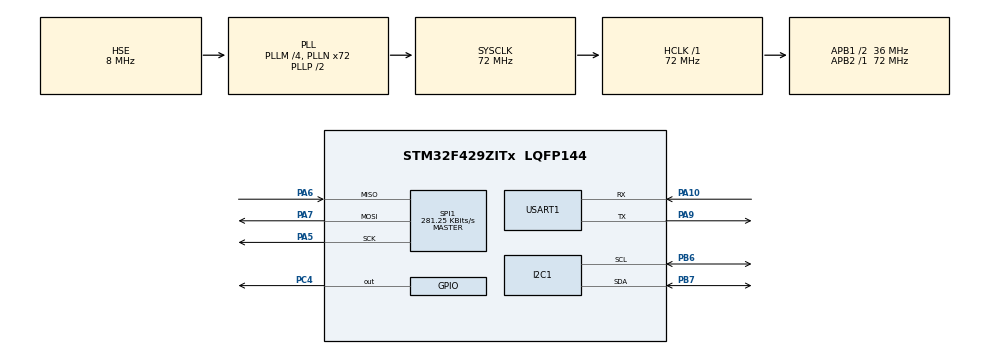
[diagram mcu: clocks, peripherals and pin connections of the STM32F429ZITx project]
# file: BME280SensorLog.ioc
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FATFS._MAX_SS=4096
FATFS._USE_CHMOD=0
FATFS._USE_EXPAND=0
FATFS._USE_LABEL=0
FATFS._USE_LFN=3
Mcu.Family=STM32F4
Mcu.Name=STM32F429ZITx
Mcu.Package=LQFP144
NVIC.PriorityGroup=NVIC_PRIORITYGROUP_4
PA10.Mode=Asynchronous
PA10.Signal=USART1_RX
PA13.Mode=Serial_Wire
PA13.Signal=SYS_JTMS-SWDIO
PA14.Mode=Serial_Wire
PA14.Signal=SYS_JTCK-SWCLK
PA5.Mode=Full_Duplex_Master
PA5.Signal=SPI1_SCK
PA6.Mode=Full_Duplex_Master
PA6.Signal=SPI1_MISO
PA7.Mode=Full_Duplex_Master
PA7.Signal=SPI1_MOSI
PA9.Mode=Asynchronous
PA9.Signal=USART1_TX
PB6.Mode=I2C
PB6.Signal=I2C1_SCL
PB7.Mode=I2C
PB7.Signal=I2C1_SDA
PC4.Signal=GPIO_Output
PH0/OSC_IN.Mode=HSE-External-Oscillator
PH0/OSC_IN.Signal=RCC_OSC_IN
PH1/OSC_OUT.Mode=HSE-External-Oscillator
PH1/OSC_OUT.Signal=RCC_OSC_OUT
ProjectManager.HeapSize=0x200
ProjectManager.StackSize=0x400
ProjectManager.TargetToolchain=CMake
RCC.48MHZClocksFreq_Value=48000000
RCC.AHBFreq_Value=72000000
RCC.APB1CLKDivider=RCC_HCLK_DIV2
RCC.APB1Freq_Value=36000000
RCC.APB1TimFreq_Value=72000000
RCC.APB2Freq_Value=72000000
RCC.APB2TimFreq_Value=72000000
RCC.CortexFreq_Value=72000000
RCC.HCLKFreq_Value=72000000
RCC.HSE_VALUE=8000000
RCC.HSI_VALUE=16000000
RCC.LSE_VALUE=32768
RCC.PLLM=4
RCC.PLLN=72
RCC.PLLQ=3
RCC.PLLSAIN=50
RCC.PLLSourceVirtual=RCC_PLLSOURCE_HSE
RCC.SYSCLKFreq_VALUE=72000000
RCC.SYSCLKSource=RCC_SYSCLKSOURCE_PLLCLK
RCC.VCOOutputFreq_Value=144000000
SPI1.BaudRatePrescaler=SPI_BAUDRATEPRESCALER_256
SPI1.CalculateBaudRate=281.25 KBits/s
SPI1.Direction=SPI_DIRECTION_2LINES
SPI1.Mode=SPI_MODE_MASTER
SPI1.VirtualType=VM_MASTER
USART1.VirtualMode=VM_ASYNC
VP_FATFS_VS_Generic.Mode=User_defined
VP_RTC_VS_RTC_Activate.Mode=RTC_Enabled
board=STM32F429I-DISC1

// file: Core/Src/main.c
/* USER CODE BEGIN Header */
/**
  ******************************************************************************
  * @file           : main.c
  * @brief          : Main program body
  ******************************************************************************
  * @attention
  *
  * Copyright (c) 2025 STMicroelectronics.
  * All rights reserved.
  *
  * This software is licensed under terms that can be found in the LICENSE file
  * in the root directory of this software component.
  * If no LICENSE file comes with this software, it is provided AS-IS.
  *
  ******************************************************************************
  */
/* USER CODE END Header */
#include "main.h"
#include "fatfs.h"

/* USER CODE BEGIN Includes */
#include "BME280_STM32.h"
#include "fatfs_sd.h"
#include "string.h"
#include "stdio.h"
#include "log_sensor_data.h"
/* USER CODE END Includes */

/* USER CODE BEGIN PD */
#define BME280_I2C_ADDRESS 0xEC  // SDIO is grounded, the 7 bit address is 0x76 and 8 bit address = 0x76<<1 = 0xEC
/* USER CODE END PD */

I2C_HandleTypeDef hi2c1;

RTC_HandleTypeDef hrtc;

SPI_HandleTypeDef hspi1;

UART_HandleTypeDef huart1;

/* USER CODE BEGIN PV */

SensorData current_data;  // Current sensor data to log
//char uart_display_buffer[256];
//uint32_t measurement_counter = 0;
LogStatus log_status;  // Status of the logging system
SD_Card_Logger sd_logger;  // SD card logger instance
BME280_Data bme1;  // BME280 data structure

/* USER CODE BEGIN PV */

/* USER CODE END PV */

void SystemClock_Config(void);
static void MX_GPIO_Init(void);
static void MX_I2C1_Init(void);
static void MX_RTC_Init(void);
static void MX_SPI1_Init(void);
static void MX_USART1_UART_Init(void);

int main(void)
{

  /* MCU Configuration--------------------------------------------------------*/

  /* Reset of all peripherals, Initializes the Flash interface and the Systick. */
  HAL_Init();

  /* Configure the system clock */
  SystemClock_Config();

  /* Initialize all configured peripherals */
  MX_GPIO_Init();
  MX_I2C1_Init();
  MX_RTC_Init();
  MX_SPI1_Init();
  MX_USART1_UART_Init();
  /* USER CODE BEGIN 2 */

  // Initialize SD card logging system

  log_status = log_sensor_init(&sd_logger, &huart1);
  if (log_status != LOG_OK) {
     //handle_logging_error(log_status);
     send_uart_message(&sd_logger, "SD card logging failed to initialize!\r\n");
     send_uart_message(&sd_logger, "Continuing with UART output only...\r\n");
   }

  // Welcome message
    send_uart_message(&sd_logger, "\r\n=== BME280 SD Card Data Logger ===\r\n");
    send_uart_message(&sd_logger, "Initializing system...\r\n");

    // Initialize BME280 sensor

    BME280_Init(&bme1, &hi2c1, BME280_I2C_ADDRESS);
    BME280_Config(&bme1, OSRS_2, OSRS_16, OSRS_1, MODE_NORMAL, T_SB_0p5, IIR_16);
    send_uart_message(&sd_logger, "BME280 sensor initialized successfully\r\n");

    // Wait for system stabilization
    HAL_Delay(1000);

    send_uart_message(&sd_logger, "System ready. Starting data logging...\r\n");
    send_uart_message(&sd_logger, "Data format: Temperature(C), Humidity(%), Pressure(hPa)\r\n\r\n");

  /* USER CODE END 2 */

  /* Infinite loop */
  while (1)
  {

    /* USER CODE BEGIN 3 */
	   // Read data from the BME280 sensor
      BME280_Measure(&bme1);

      // Populate the data structure for logging

      current_data.timestamp = HAL_GetTick();
      current_data.temperature = bme1.Temperature;
      current_data.humidity = bme1.Humidity;
      current_data.pressure = bme1.Pressure;
      //current_sensor_data.timestamp = measurement_counter++;

      // Log the data to the SD card
      if (log_status == LOG_OK) {
        log_sensor_data(&sd_logger, &current_data);
       }

  }
  /* USER CODE END 3 */
}

void SystemClock_Config(void)
{
  RCC_OscInitTypeDef RCC_OscInitStruct = {0};
  RCC_ClkInitTypeDef RCC_ClkInitStruct = {0};

  /** Configure the main internal regulator output voltage
  */
  __HAL_RCC_PWR_CLK_ENABLE();
  __HAL_PWR_VOLTAGESCALING_CONFIG(PWR_REGULATOR_VOLTAGE_SCALE3);

  /** Initializes the RCC Oscillators according to the specified parameters
  * in the RCC_OscInitTypeDef structure.
  */
  RCC_OscInitStruct.OscillatorType = RCC_OSCILLATORTYPE_LSI|RCC_OSCILLATORTYPE_HSE;
  RCC_OscInitStruct.HSEState = RCC_HSE_ON;
  RCC_OscInitStruct.LSIState = RCC_LSI_ON;
  RCC_OscInitStruct.PLL.PLLState = RCC_PLL_ON;
  RCC_OscInitStruct.PLL.PLLSource = RCC_PLLSOURCE_HSE;
  RCC_OscInitStruct.PLL.PLLM = 4;
  RCC_OscInitStruct.PLL.PLLN = 72;
  RCC_OscInitStruct.PLL.PLLP = RCC_PLLP_DIV2;
  RCC_OscInitStruct.PLL.PLLQ = 3;
  if (HAL_RCC_OscConfig(&RCC_OscInitStruct) != HAL_OK)
  {
    Error_Handler();
  }

  /** Initializes the CPU, AHB and APB buses clocks
  */
  RCC_ClkInitStruct.ClockType = RCC_CLOCKTYPE_HCLK|RCC_CLOCKTYPE_SYSCLK
                              |RCC_CLOCKTYPE_PCLK1|RCC_CLOCKTYPE_PCLK2;
  RCC_ClkInitStruct.SYSCLKSource = RCC_SYSCLKSOURCE_PLLCLK;
  RCC_ClkInitStruct.AHBCLKDivider = RCC_SYSCLK_DIV1;
  RCC_ClkInitStruct.APB1CLKDivider = RCC_HCLK_DIV2;
  RCC_ClkInitStruct.APB2CLKDivider = RCC_HCLK_DIV1;

  if (HAL_RCC_ClockConfig(&RCC_ClkInitStruct, FLASH_LATENCY_2) != HAL_OK)
  {
    Error_Handler();
  }
}

static void MX_I2C1_Init(void)
{

  hi2c1.Instance = I2C1;
  hi2c1.Init.ClockSpeed = 100000;
  hi2c1.Init.DutyCycle = I2C_DUTYCYCLE_2;
  hi2c1.Init.OwnAddress1 = 0;
  hi2c1.Init.AddressingMode = I2C_ADDRESSINGMODE_7BIT;
  hi2c1.Init.DualAddressMode = I2C_DUALADDRESS_DISABLE;
  hi2c1.Init.OwnAddress2 = 0;
  hi2c1.Init.GeneralCallMode = I2C_GENERALCALL_DISABLE;
  hi2c1.Init.NoStretchMode = I2C_NOSTRETCH_DISABLE;
  if (HAL_I2C_Init(&hi2c1) != HAL_OK)
  {
    Error_Handler();
  }

  /** Configure Analogue filter
  */
  if (HAL_I2CEx_ConfigAnalogFilter(&hi2c1, I2C_ANALOGFILTER_ENABLE) != HAL_OK)
  {
    Error_Handler();
  }

  /** Configure Digital filter
  */
  if (HAL_I2CEx_ConfigDigitalFilter(&hi2c1, 0) != HAL_OK)
  {
    Error_Handler();
  }

}

static void MX_RTC_Init(void)
{

  /** Initialize RTC Only
  */
  hrtc.Instance = RTC;
  hrtc.Init.HourFormat = RTC_HOURFORMAT_24;
  hrtc.Init.AsynchPrediv = 127;
  hrtc.Init.SynchPrediv = 255;
  hrtc.Init.OutPut = RTC_OUTPUT_DISABLE;
  hrtc.Init.OutPutPolarity = RTC_OUTPUT_POLARITY_HIGH;
  hrtc.Init.OutPutType = RTC_OUTPUT_TYPE_OPENDRAIN;
  if (HAL_RTC_Init(&hrtc) != HAL_OK)
  {
    Error_Handler();
  }

}

static void MX_SPI1_Init(void)
{

  /* SPI1 parameter configuration*/
  hspi1.Instance = SPI1;
  hspi1.Init.Mode = SPI_MODE_MASTER;
  hspi1.Init.Direction = SPI_DIRECTION_2LINES;
  hspi1.Init.DataSize = SPI_DATASIZE_8BIT;
  hspi1.Init.CLKPolarity = SPI_POLARITY_LOW;
  hspi1.Init.CLKPhase = SPI_PHASE_1EDGE;
  hspi1.Init.NSS = SPI_NSS_SOFT;
  hspi1.Init.BaudRatePrescaler = SPI_BAUDRATEPRESCALER_256;
  hspi1.Init.FirstBit = SPI_FIRSTBIT_MSB;
  hspi1.Init.TIMode = SPI_TIMODE_DISABLE;
  hspi1.Init.CRCCalculation = SPI_CRCCALCULATION_DISABLE;
  hspi1.Init.CRCPolynomial = 10;
  if (HAL_SPI_Init(&hspi1) != HAL_OK)
  {
    Error_Handler();
  }

}

static void MX_USART1_UART_Init(void)
{

  huart1.Instance = USART1;
  huart1.Init.BaudRate = 115200;
  huart1.Init.WordLength = UART_WORDLENGTH_8B;
  huart1.Init.StopBits = UART_STOPBITS_1;
  huart1.Init.Parity = UART_PARITY_NONE;
  huart1.Init.Mode = UART_MODE_TX_RX;
  huart1.Init.HwFlowCtl = UART_HWCONTROL_NONE;
  huart1.Init.OverSampling = UART_OVERSAMPLING_16;
  if (HAL_UART_Init(&huart1) != HAL_OK)
  {
    Error_Handler();
  }

}

static void MX_GPIO_Init(void)
{
  GPIO_InitTypeDef GPIO_InitStruct = {0};

  /* GPIO Ports Clock Enable */
  __HAL_RCC_GPIOH_CLK_ENABLE();
  __HAL_RCC_GPIOA_CLK_ENABLE();
  __HAL_RCC_GPIOC_CLK_ENABLE();
  __HAL_RCC_GPIOB_CLK_ENABLE();

  /*Configure GPIO pin Output Level */
  HAL_GPIO_WritePin(GPIOC, GPIO_PIN_4, GPIO_PIN_RESET);

  /*Configure GPIO pin : PC4 */
  GPIO_InitStruct.Pin = GPIO_PIN_4;
  GPIO_InitStruct.Mode = GPIO_MODE_OUTPUT_PP;
  GPIO_InitStruct.Pull = GPIO_NOPULL;
  GPIO_InitStruct.Speed = GPIO_SPEED_FREQ_LOW;
  HAL_GPIO_Init(GPIOC, &GPIO_InitStruct);

}

void Error_Handler(void)
{
  __disable_irq();
  while (1)
  {
  }
}
